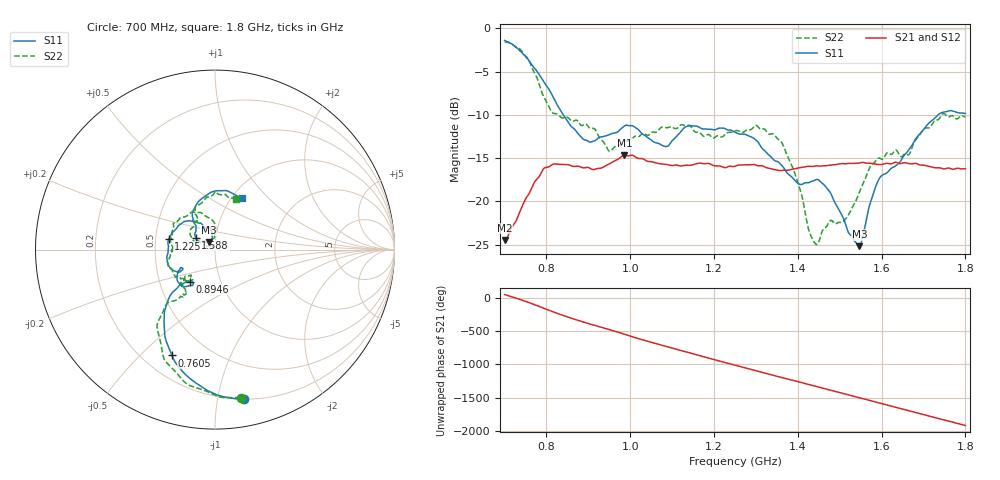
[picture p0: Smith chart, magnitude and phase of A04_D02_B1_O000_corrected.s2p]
! Created with skrf 1.9.0 (http://scikit-rf.org).
# Hz S RI R 50.0
!freq ReS11 ImS11 ReS21 ImS21 ReS12 ImS12 ReS22 ImS22
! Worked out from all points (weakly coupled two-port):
!   1601 points, 700 MHz to 1.8 GHz, reference 50 ohm
!   highest |S21| = -14.65 dB at 986 MHz (marker M1); lowest = -24.5 dB at 700.7 MHz (marker M2)
!   lowest |S11| = -25.2 dB at 1.547 GHz (marker M3), VSWR 1.12, Z = 46.5 + j4 ohm
!   |S11| at or under -10 dB: 840.1 MHz to 1.735 GHz (894.4 MHz wide, 69.5 % of centre)
!   |S22| runs from -25.0 to -1.5 dB; largest |S21 - S12| = 0.0034
!   S11 on the Smith chart (normalised r, x): 700 MHz: 0.20, -1.19; 760.5 MHz: 0.32, -0.63; 894.6 MHz: 0.71, -0.27; 1.225 GHz: 0.59, +0.07; 1.588 GHz: 0.80, +0.11; 1.8 GHz: 1.11, +0.71
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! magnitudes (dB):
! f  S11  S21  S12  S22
! 700 MHz  -1.4  -24.5  -24.2  -1.5
! 700.7 MHz  -1.4  -24.5  -24.2  -1.5
! 760.5 MHz  -3.9  -18.9  -18.8  -3.9
! 812.8 MHz  -7.6  -15.8  -15.8  -9.7
! 883.6 MHz  -12.6  -16.1  -16.0  -11.2
! 894.6 MHz  -12.9  -16.1  -16.2  -11.1
! 950.2 MHz  -12.3  -15.6  -15.7  -14.2
! 986 MHz  -11.3  -14.6  -14.7  -13.0
! 1.067 GHz  -13.3  -15.6  -15.6  -11.8
! 1.225 GHz  -11.6  -16.1  -16.1  -12.3
! 1.25 GHz  -12.0  -15.9  -15.9  -11.9
! 1.361 GHz  -15.8  -16.4  -16.4  -13.1
! 1.401 GHz  -17.9  -16.1  -16.1  -18.0
! 1.434 GHz  -17.7  -16.0  -15.9  -24.2
! 1.471 GHz  -18.6  -15.9  -15.8  -22.7
! 1.511 GHz  -22.2  -15.6  -15.6  -22.2
! 1.547 GHz  -25.2  -15.6  -15.5  -18.9
! 1.588 GHz  -18.0  -15.7  -15.7  -15.2
! 1.617 GHz  -16.5  -15.6  -15.6  -14.4
! 1.665 GHz  -14.1  -15.6  -15.6  -14.6
! 1.736 GHz  -9.9  -16.1  -16.2  -10.5
! 1.8 GHz  -9.9  -16.2  -16.2  -10.3
